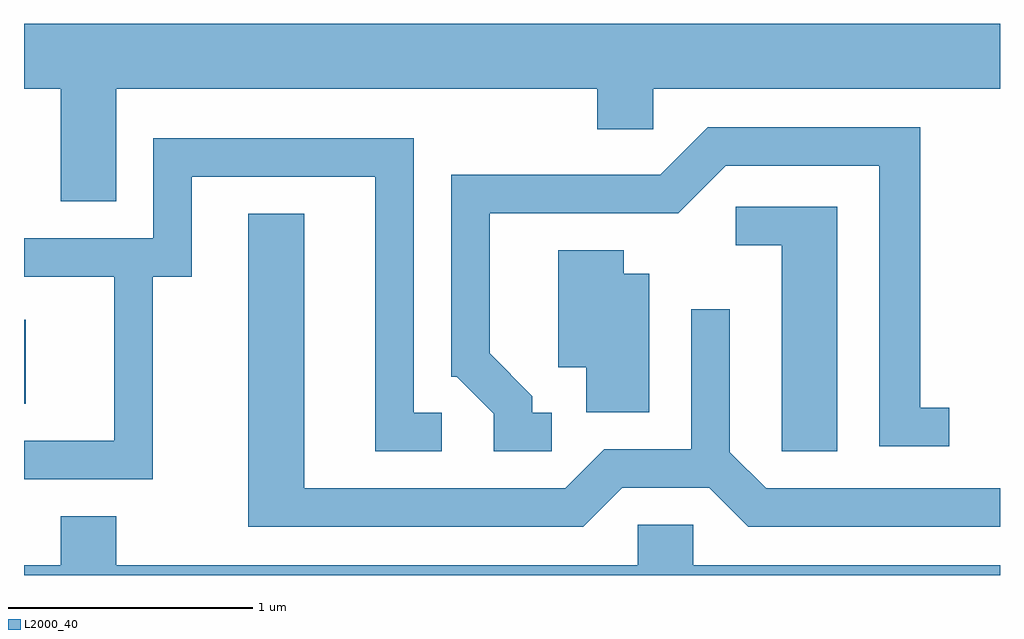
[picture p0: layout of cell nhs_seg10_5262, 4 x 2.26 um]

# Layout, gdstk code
import gdstk
lib = gdstk.Library(unit=1e-6, precision=1e-09)
def R(c, l, rs):  # rectangles x0, y0, x1, y1
    for r in rs: c.add(gdstk.rectangle(r[:2], r[2:], *l))
def P(c, l, *ps):  # polygons
    for p in ps: c.add(gdstk.Polygon(p, *l))
L2000_40 = (2000, 40)

nhs_seg10_5262 = lib.new_cell('nhs_seg10_5262')
R(nhs_seg10_5262, L2000_40, [(339.611,2179.226,339.619,2179.569)])
P(nhs_seg10_5262, L2000_40, [(339.989,2180.516),(341.961,2180.516),(341.961,2180.351),(342.189,2180.351),(342.189,2180.516),(343.611,2180.516),(343.611,2180.784),(339.611,2180.784),(339.611,2180.516),(339.761,2180.516),(339.761,2180.056),(339.989,2180.056)],
  [(341.773,2179.189),(341.694,2179.189),(341.694,2179.257),(341.519,2179.432),(341.519,2180.006),(342.292,2180.006),(342.487,2180.201),(343.116,2180.201),(343.116,2179.051),(343.403,2179.051),(343.403,2179.209),(343.284,2179.209),(343.284,2180.359),(342.414,2180.359),(342.219,2180.164),(341.361,2180.164),(341.361,2179.336),(341.384,2179.336),(341.536,2179.184),(341.536,2179.031),(341.773,2179.031)],
  [(340.139,2179.746),(340.299,2179.746),(340.299,2180.156),(341.051,2180.156),(341.051,2179.031),(341.323,2179.031),(341.323,2179.189),(341.209,2179.189),(341.209,2180.314),(340.141,2180.314),(340.141,2179.904),(339.611,2179.904),(339.611,2179.746),(339.981,2179.746),(339.981,2179.074),(339.611,2179.074),(339.611,2178.916),(340.139,2178.916)],
  [(342.944,2180.034),(342.528,2180.034),(342.528,2179.876),(342.716,2179.876),(342.716,2179.031),(342.944,2179.031)],
  [(342.062,2178.881),(342.419,2178.881),(342.579,2178.721),(343.611,2178.721),(343.611,2178.879),(342.652,2178.879),(342.504,2179.027),(342.504,2179.613),(342.346,2179.613),(342.346,2179.039),(341.989,2179.039),(341.829,2178.879),(340.759,2178.879),(340.759,2180.004),(340.531,2180.004),(340.531,2178.721),(341.902,2178.721)],
  [(342.174,2179.759),(342.069,2179.759),(342.069,2179.854),(341.801,2179.854),(341.801,2179.376),(341.916,2179.376),(341.916,2179.191),(342.174,2179.191)],
  [(343.611,2178.564),(342.354,2178.564),(342.354,2178.729),(342.126,2178.729),(342.126,2178.564),(339.989,2178.564),(339.989,2178.764),(339.761,2178.764),(339.761,2178.564),(339.611,2178.564),(339.611,2178.522),(343.611,2178.522)])

lib.write_gds('nhs_seg10_5262.gds')
